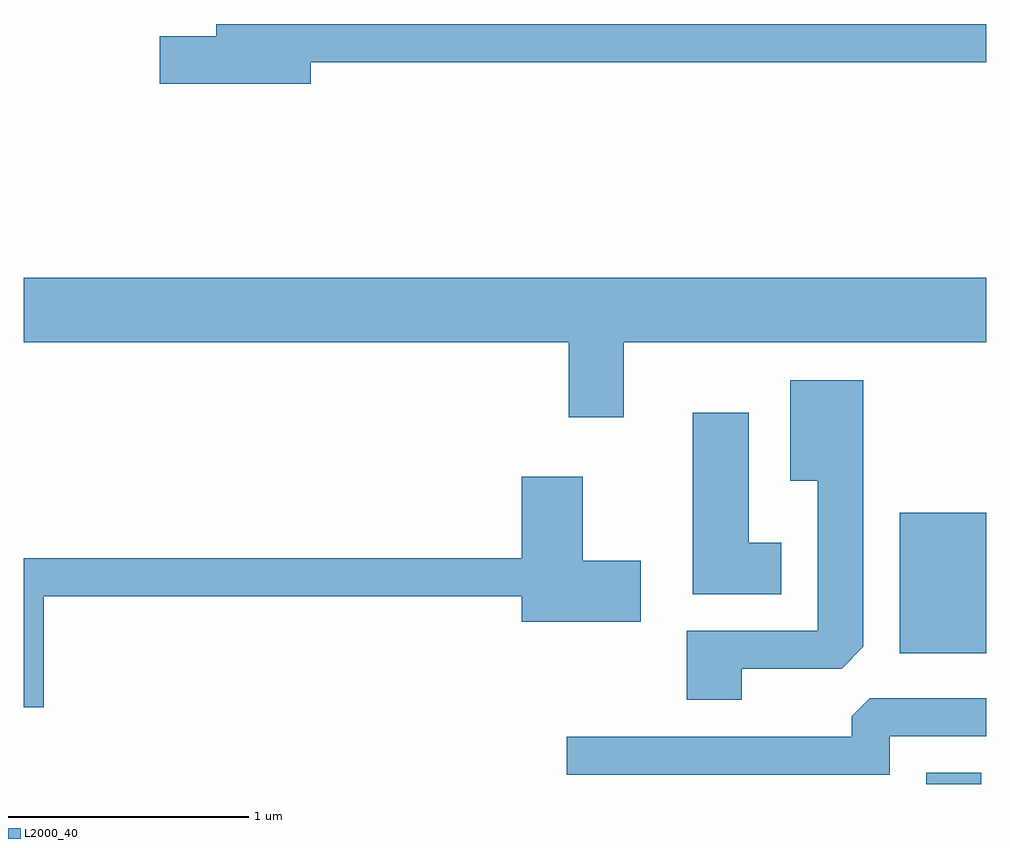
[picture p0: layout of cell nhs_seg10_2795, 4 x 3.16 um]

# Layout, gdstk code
import gdstk
lib = gdstk.Library(unit=1e-6, precision=1e-09)
def R(c, l, rs):  # rectangles x0, y0, x1, y1
    for r in rs: c.add(gdstk.rectangle(r[:2], r[2:], *l))
def P(c, l, *ps):  # polygons
    for p in ps: c.add(gdstk.Polygon(p, *l))
L2000_40 = (2000, 40)

nhs_seg10_2795 = lib.new_cell('nhs_seg10_2795')
R(nhs_seg10_2795, L2000_40, [(271.361,2116.522,271.589,2116.569), (271.251,2117.066,271.611,2117.649)])
P(nhs_seg10_2795, L2000_40, [(268.804,2119.521),(271.611,2119.521),(271.611,2119.679),(268.411,2119.679),(268.411,2119.629),(268.176,2119.629),(268.176,2119.431),(268.804,2119.431)],
  [(270.104,2118.356),(271.611,2118.356),(271.611,2118.624),(267.611,2118.624),(267.611,2118.356),(269.876,2118.356),(269.876,2118.046),(270.104,2118.046)],
  [(270.594,2117.001),(271.009,2117.001),(271.099,2117.092),(271.099,2118.199),(270.796,2118.199),(270.796,2117.781),(270.911,2117.781),(270.911,2117.159),(270.366,2117.159),(270.366,2116.871),(270.594,2116.871)],
  [(270.759,2117.524),(270.624,2117.524),(270.624,2118.064),(270.391,2118.064),(270.391,2117.311),(270.759,2117.311)],
  [(267.694,2117.301),(269.681,2117.301),(269.681,2117.196),(270.174,2117.196),(270.174,2117.449),(269.934,2117.449),(269.934,2117.799),(269.681,2117.799),(269.681,2117.459),(267.611,2117.459),(267.611,2116.841),(267.694,2116.841)],
  [(271.209,2116.721),(271.611,2116.721),(271.611,2116.879),(271.127,2116.879),(271.051,2116.804),(271.051,2116.719),(269.868,2116.719),(269.868,2116.561),(271.209,2116.561)])

lib.write_gds('nhs_seg10_2795.gds')
